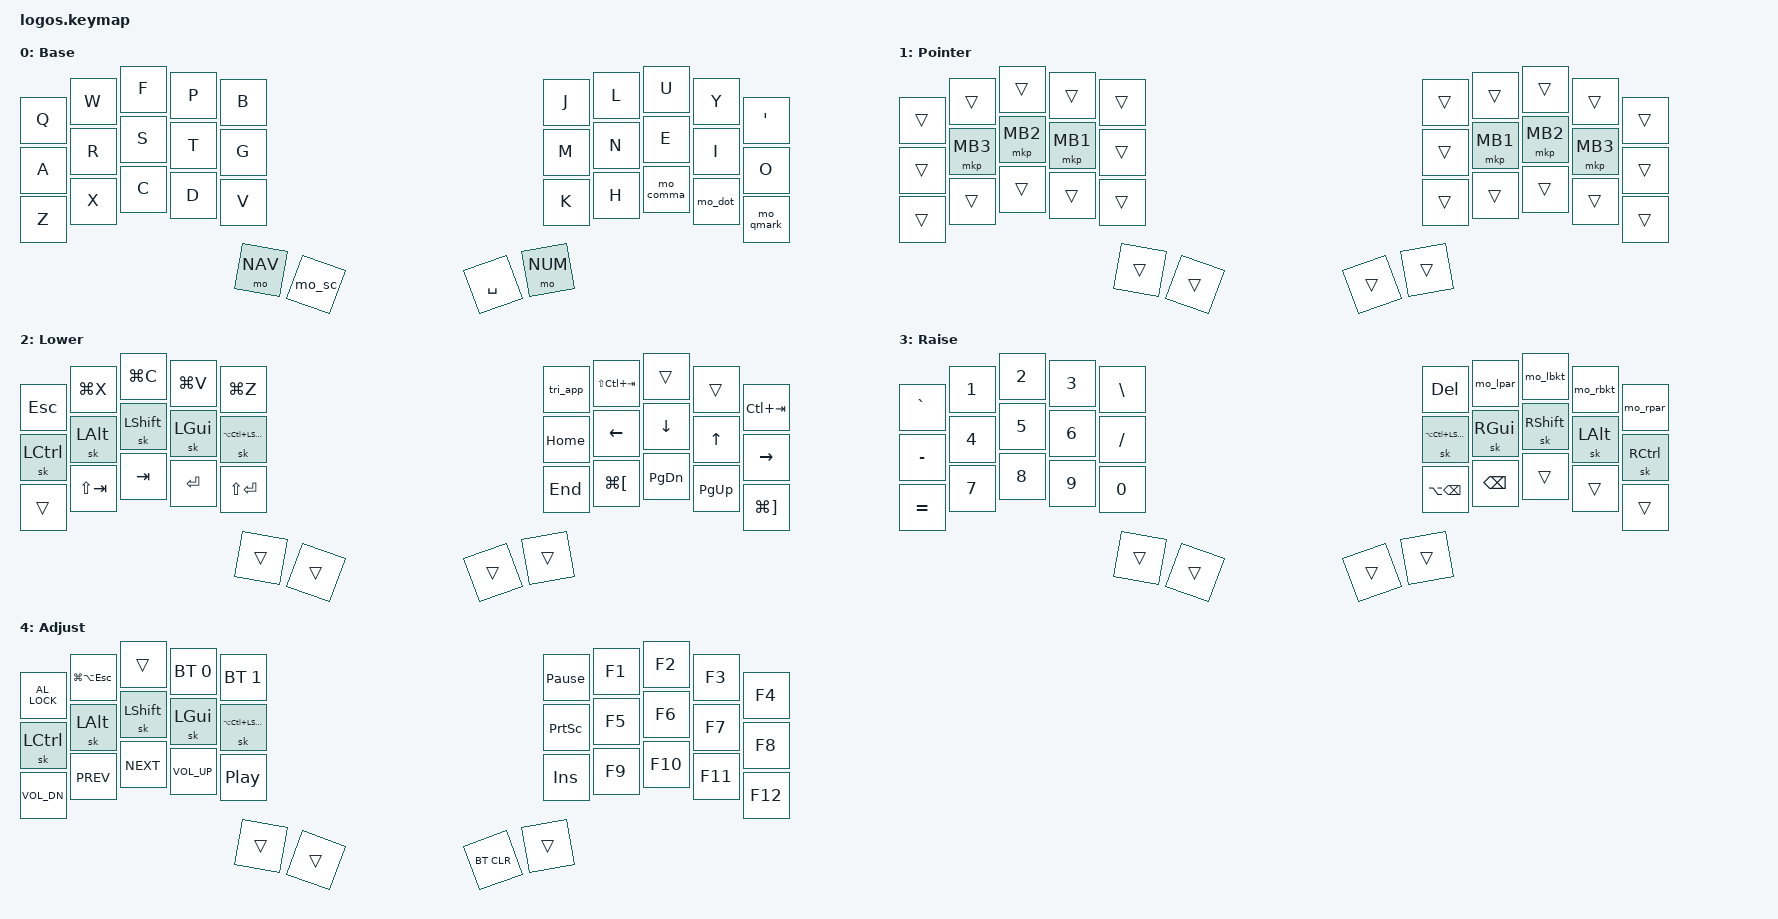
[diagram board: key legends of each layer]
#include <behaviors.dtsi>
#include <dt-bindings/zmk/bt.h>
#include <dt-bindings/zmk/keys.h>
#include <dt-bindings/zmk/pointing.h>

// Layers
#define BASE    0
#define NAV     1
#define NUM     2
#define SYM     3
#define ADJUST  4
#define SYS     5

/ {
    conditional_layers {
        compatible = "zmk,conditional-layers";

        tri_layer {
            if-layers = <NAV NUM>;
            then-layer = <ADJUST>;
        };

        quad_layer {
            if-layers = <NAV SYM>;
            then-layer = <SYS>;
        };
    };
};

// Tuning
#define TAPPING_TERM_MS 200
#define COMBO_TIMEOUT_MS 50
#define COMBO_PRIOR_IDLE_MS 50
#define STICKY_TIMEOUT_MS 2000

// Overrides
&sk {
    release-after-ms = <STICKY_TIMEOUT_MS>;
    quick-release;
};

&lt {
    tapping-term-ms = <120>;
    quick-tap-ms = <200>;
};

&soft_off {
    hold-time-ms = <2000>;
};

/ {
    behaviors {
        mo_dot: morph_period {
            compatible = "zmk,behavior-mod-morph";
            display-name = "Period - Colon"; 

            #binding-cells = <0>;
            bindings = <&kp PERIOD>, <&kp COLON>;
            mods = <(MOD_LSFT|MOD_RSFT)>;
        };

        mo_comma: morph_comma {
            compatible = "zmk,behavior-mod-morph";
            display-name = "Comma - Semicolon"; 

            #binding-cells = <0>;
            bindings = <&kp COMMA>, <&kp SEMICOLON>;
            mods = <(MOD_LSFT|MOD_RSFT)>;
        };

        mo_qmark: morph_question {
            compatible = "zmk,behavior-mod-morph";
            display-name = "Question - Exclamation"; 

            #binding-cells = <0>;
            bindings = <&kp QUESTION>, <&kp EXCLAMATION>;
            mods = <(MOD_LSFT|MOD_RSFT)>;
        };

        mo_lpar: morph_left_parenthesis {
            compatible = "zmk,behavior-mod-morph";
            display-name = "Left Parens - Brace"; 

            #binding-cells = <0>;
            bindings = <&kp LEFT_PARENTHESIS>, <&kp LEFT_BRACE>;
            mods = <(MOD_LSFT|MOD_RSFT)>;
        };

        mo_rpar: morph_right_parenthesis {
            compatible = "zmk,behavior-mod-morph";
            display-name = "Right Parens - Brace"; 

            #binding-cells = <0>;
            bindings = <&kp RIGHT_PARENTHESIS>, <&kp RIGHT_BRACE>;
            mods = <(MOD_LSFT|MOD_RSFT)>;
        };

        mo_lbkt: morph_left_bracket {
            compatible = "zmk,behavior-mod-morph";
            display-name = "Left Bracket - Angle Bracket"; 

            #binding-cells = <0>;
            bindings = <&kp LEFT_BRACKET>, <&kp LESS_THAN>;
            mods = <(MOD_LSFT|MOD_RSFT)>;
        };

        mo_rbkt: morph_right_bracket {
            compatible = "zmk,behavior-mod-morph";
            display-name = "Right Bracket - Angle Bracket"; 

            #binding-cells = <0>;
            bindings = <&kp RIGHT_BRACKET>, <&kp GREATER_THAN>;
            mods = <(MOD_LSFT|MOD_RSFT)>;
        };

        mo_sc: morph_shift_caps {
            compatible = "zmk,behavior-mod-morph";
            display-name = "Shift-Caps"; 
            
            #binding-cells = <0>;
            bindings = <&sk LSHIFT>, <&caps_word>;
            mods = <(MOD_LSFT)>;
        };

        tri_app: tri_app_swap {
            compatible = "zmk,behavior-tri-state";
            
            display-name = "App Swapper";
            #binding-cells = <0>;
            bindings = <&kt LGUI>, <&kp TAB>, <&kt LGUI>;
        };

        tri_win: tri_win_swap {
            compatible = "zmk,behavior-tri-state";
            
            display-name = "Window Swapper";
            #binding-cells = <0>;
            bindings = <&kt LGUI>, <&kp GRAVE>, <&kt LGUI>;
        };
    };
};

/ {
    combos {
        compatible = "zmk,combos";

        cmb_esc_l {
            bindings = <&kp ESCAPE>;
            key-positions = <0 1>;
            timeout-ms = <COMBO_TIMEOUT_MS>;
            require-prior-idle-ms = <COMBO_PRIOR_IDLE_MS>;
        };

        cmb_esc_r {
            bindings = <&kp ESCAPE>;
            key-positions = <8 9>;
            timeout-ms = <COMBO_TIMEOUT_MS>;
            require-prior-idle-ms = <COMBO_PRIOR_IDLE_MS>;
        };

        cmb_mb1_l {
            bindings = <&mkp MB1>;
            key-positions = <22 23>;
            timeout-ms = <COMBO_TIMEOUT_MS>;
            require-prior-idle-ms = <COMBO_PRIOR_IDLE_MS>;
        };
        
        cmb_mb1_r {
            bindings = <&mkp MB1>;
            key-positions = <26 27>;
            timeout-ms = <COMBO_TIMEOUT_MS>;
            require-prior-idle-ms = <COMBO_PRIOR_IDLE_MS>;
        };
        
        cmb_mb2_l {
            bindings = <&mkp MB2>;
            key-positions = <21 23>;
            timeout-ms = <COMBO_TIMEOUT_MS>;
            require-prior-idle-ms = <COMBO_PRIOR_IDLE_MS>;
        };
        
        cmb_mb2_r {
            bindings = <&mkp MB2>;
            key-positions = <26 28>;
            timeout-ms = <COMBO_TIMEOUT_MS>;
            require-prior-idle-ms = <COMBO_PRIOR_IDLE_MS>;
        };
        
        cmb_mb3_l {
            bindings = <&mkp MB3>;
            key-positions = <21 22 23>;
            timeout-ms = <COMBO_TIMEOUT_MS>;
            require-prior-idle-ms = <COMBO_PRIOR_IDLE_MS>;
        };
        
        cmb_mb3_r {
            bindings = <&mkp MB3>;
            key-positions = <26 27 28>;
            timeout-ms = <COMBO_TIMEOUT_MS>;
            require-prior-idle-ms = <COMBO_PRIOR_IDLE_MS>;
        };
    };
};

// Shorthands
#define TAB_L     LS(LC(TAB))         // Switch tab left
#define TAB_R     LC(TAB)             // Switch tab right
#define BACK      LG(LEFT_BRACKET)    // Go Back in history
#define FWRD      LG(RIGHT_BRACKET)   // Go Forward in history
#define FQUIT     LG(LA(ESCAPE))      // Force Quit/Task Manager
#define EXPOS     LC(UP)              // Reveal windows
#define EMOJI     LC(LG(SPACE))       // Emoji Picker
#define SPOT      LG(SPACE)           // Spotlight
#define MEH       LA(LC(LEFT_SHIFT))
#define CUTT      LG(X)             // These are already defined internally,
#define COPYY     LG(C)             // hence the dumb names
#define PASTEE    LG(V)
#define UNDOO     LG(Z)
#define REDOO     LS(LG(Z))

/ {
    keymap {
        compatible = "zmk,keymap";

        default_layer {
            display-name = "Base";
            bindings = <
                &kp Q   &kp W   &kp F   &kp P   &kp B       &kp J   &kp L   &kp U   &kp Y   &kp APOS
                &kp A   &kp R   &kp S   &kp T   &kp G       &kp M   &kp N   &kp E   &kp I   &kp O
                &kp Z   &kp X   &kp C   &kp D   &kp V       &kp K   &kp H   &mo_comma    &mo_dot   &mo_qmark
                                &mo NAV   &mo_sc  &kp SPACE   &mo NUM
            >;
        };

        pointer_layer {
            display-name = "Pointer";
            bindings = <
                &trans  &trans  &trans  &trans  &trans              &trans  &trans  &trans  &trans  &trans
                &trans &mkp MB3 &mkp MB2  &mkp MB1 &trans           &trans  &mkp MB1  &mkp MB2  &mkp MB3  &trans
                &trans  &trans  &trans  &trans  &trans              &trans  &trans  &trans  &trans  &trans
                                        &trans  &trans              &trans  &trans
            >;
        };

        lower_layer {
            display-name = "Lower";
            bindings = <
                &kp ESC &kp LG(X) &kp LG(C)    &kp LG(V)   &kp LG(Z)                &tri_app &kp TAB_L  &trans &trans &kp TAB_R
                &sk LCTRL   &sk LALT    &sk LSHFT  &sk LGUI &sk MEH             &kp HOME &kp LEFT &kp DOWN &kp UP &kp RIGHT
                &trans &kp LS(TAB) &kp TAB &kp RET &kp LS(RET)                &kp END &kp BACK &kp PG_DN &kp PG_UP &kp FWRD
                                                          &trans &trans        &trans &trans
            >;
        };

        raise_layer {
            display-name = "Raise";
            bindings = <
                &kp GRAVE  &kp N1  &kp N2  &kp N3  &kp BSLH                     &kp DELETE         &mo_lpar  &mo_lbkt  &mo_rbkt  &mo_rpar
                &kp MINUS  &kp N4  &kp N5  &kp N6  &kp SLASH                    &sk MEH          &sk RGUI        &sk RSHFT        &sk LALT       &sk RCTRL
                &kp EQUAL  &kp N7  &kp N8  &kp N9  &kp N0                       &kp LA(BSPC)  &kp BSPC   &trans          &trans          &trans
                                                &trans  &trans                  &trans  &trans
            >;
        };

        adjust_layer {
            display-name = "Adjust";
            bindings = <
                &kp C_AL_LOCK   &kp FQUIT  &trans   &bt BT_SEL 0   &bt BT_SEL 1 &kp PAUSE_BREAK &kp F1  &kp F2  &kp F3  &kp F4
                &sk LCTRL  &sk LALT  &sk LSHFT  &sk LGUI  &sk MEH               &kp PSCRN       &kp F5  &kp F6  &kp F7  &kp F8
                &kp C_VOL_DN  &kp C_PREV  &kp C_NEXT  &kp C_VOL_UP  &kp C_PP    &kp INS         &kp F9  &kp F10 &kp F11 &kp F12
                                                    &trans  &trans              &bt BT_CLR  &trans
            >;
        };

        extra_1 {
            status = "reserved";
        };

        extra_2 {
            status = "reserved";
        };
    };
};
